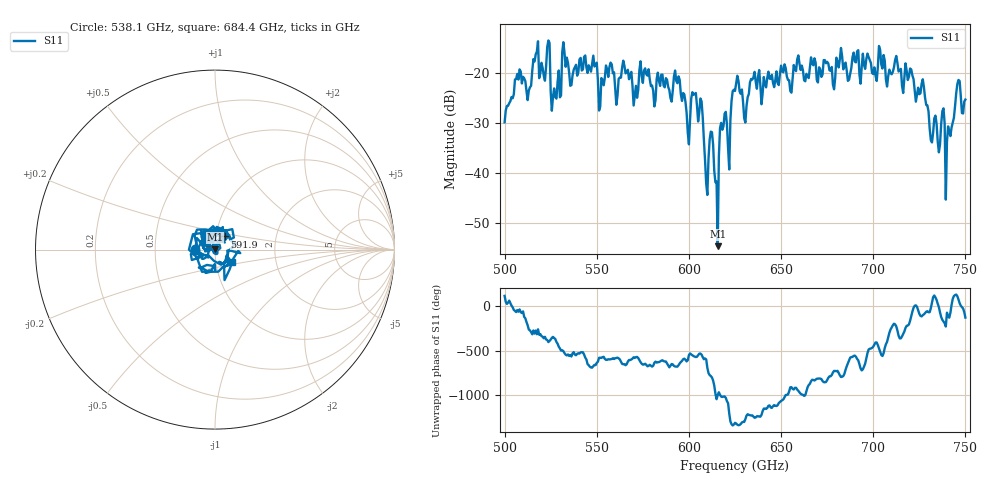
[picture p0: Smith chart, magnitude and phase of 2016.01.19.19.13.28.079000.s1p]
!Created with skrf (http://scikit-rf.org).
# GHz S RI R 50.0
!freq ReS11 ImS11
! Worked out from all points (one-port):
!   401 points, 500 GHz to 750 GHz, reference 50 ohm
!   lowest |S11| = -54.5 dB at 615.6 GHz (marker M1), VSWR 1.00, Z = 50 + j0.187 ohm
!   |S11| at or under -10 dB: start of sweep to end of sweep
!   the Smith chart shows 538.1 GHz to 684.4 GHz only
!   S11 on the Smith chart (normalised r, x): 538.1 GHz: 0.80, +0.00; 591.9 GHz: 1.11, +0.16; 684.4 GHz: 1.20, -0.17
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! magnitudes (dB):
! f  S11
! 500 GHz  -29.8
! 507.5 GHz  -21.3
! 513.1 GHz  -23.5
! 516.9 GHz  -16.3
! 523.8 GHz  -13.5
! 526.9 GHz  -23.1
! 531.2 GHz  -15.9
! 538.1 GHz  -18.9
! 562.5 GHz  -20.9
! 591.9 GHz  -20.7
! 593.8 GHz  -22.0
! 599.4 GHz  -31.9
! 606.2 GHz  -25.1
! 609.4 GHz  -42.1
! 611.9 GHz  -31.7
! 615.6 GHz  -54.5
! 618.1 GHz  -31.3
! 621.9 GHz  -39.2
! 625 GHz  -23.6
! 630.6 GHz  -29.9
! 634.4 GHz  -21.3
! 656.2 GHz  -21.2
! 684.4 GHz  -18.5
! 687.5 GHz  -20.1
! 718.8 GHz  -21.4
! 740.6 GHz  -30.6
! 745.6 GHz  -22.2
! 750 GHz  -25.3
